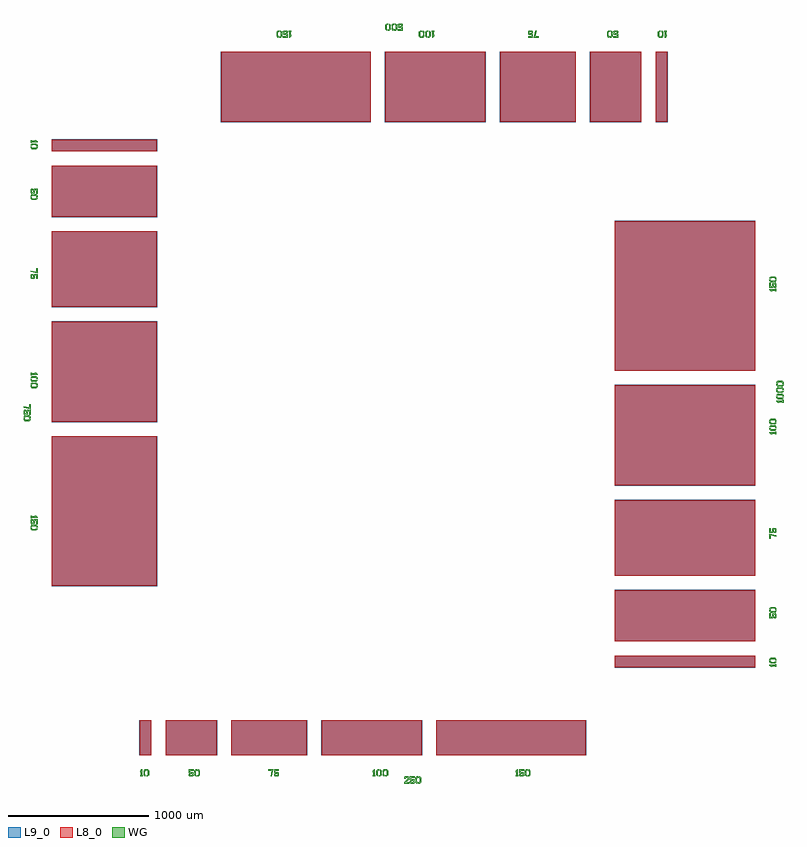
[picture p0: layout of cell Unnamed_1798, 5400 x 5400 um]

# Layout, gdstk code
from math import pi, radians
import gdstk
lib = gdstk.Library(unit=1e-6, precision=1e-09)
def R(c, l, rs):  # rectangles x0, y0, x1, y1
    for r in rs: c.add(gdstk.rectangle(r[:2], r[2:], *l))
def P(c, l, *ps):  # polygons
    for p in ps: c.add(gdstk.Polygon(p, *l))
WG = (1, 0)
L8_0 = (8, 0)
L9_0 = (9, 0)

unnamed_1796 = lib.new_cell('Unnamed_1796')

unnamed_1795 = lib.new_cell('Unnamed_1795')

rectangle_s1066_500_l9__ = lib.new_cell('rectangle_S1066_500_L9__64bd6b69')
R(rectangle_s1066_500_l9__, L9_0, [(0,0,1066,500)])

text_t150_s50_p0_0_jleft = lib.new_cell('text_T150_S50_P0_0_Jleft_L1_0')
P(text_t150_s50_p0_0_jleft, WG, [(88.5,0),(91,10),(95,10),(100,15),(100,35),(95,40),(97.5,50),(100,50),(110,40),(110,10),(100,0)],
  [(80,0),(70,10),(70,40),(80,50),(91.5,50),(89,40),(85,40),(80,35),(80,15),(85,10),(82.5,0)],
  [(35,0),(30,5),(30,15),(40,15),(40,10),(55,10),(55,20),(35,20),(30,25),(30,50),(65,50),(65,40),(40,40),(40,30),(60,30),(65,25),(65,5),(60,0)],
  [(5,0),(5,10),(10,10),(10,30),(5,30),(5,40),(15,50),(20,50),(20,10),(25,10),(25,0)])

rectangle_s150_498_l8_0_ = lib.new_cell('rectangle_S150_498_L8_0_3344f8a4')
R(rectangle_s150_498_l8_0_, L8_0, [(0,0,150,498)])

unnamed_1779 = lib.new_cell('Unnamed_1779')
unnamed_1779.add(gdstk.Reference(rectangle_s1066_500_l9__, (123,0)))
unnamed_1779.add(gdstk.Reference(text_t150_s50_p0_0_jleft, (683,-150)))
unnamed_1779.add(gdstk.Reference(rectangle_s150_498_l8_0_, (125,0)))
unnamed_1779.add(gdstk.Reference(rectangle_s150_498_l8_0_, (277,0)))
unnamed_1779.add(gdstk.Reference(rectangle_s150_498_l8_0_, (429,0)))
unnamed_1779.add(gdstk.Reference(rectangle_s150_498_l8_0_, (581,0)))
unnamed_1779.add(gdstk.Reference(rectangle_s150_498_l8_0_, (733,0)))
unnamed_1779.add(gdstk.Reference(rectangle_s150_498_l8_0_, (885,0)))
unnamed_1779.add(gdstk.Reference(rectangle_s150_498_l8_0_, (1037,0)))

rectangle_s716_500_l9_0_ = lib.new_cell('rectangle_S716_500_L9_0_1c4ea042')
R(rectangle_s716_500_l9_0_, L9_0, [(0,0,716,500)])

text_t100_s50_p0_0_jleft = lib.new_cell('text_T100_S50_P0_0_Jleft_L1_0')
P(text_t100_s50_p0_0_jleft, WG, [(48.5,0),(51,10),(55,10),(60,15),(60,35),(55,40),(57.5,50),(60,50),(70,40),(70,10),(60,0)],
  [(93.5,0),(96,10),(100,10),(105,15),(105,35),(100,40),(102.5,50),(105,50),(115,40),(115,10),(105,0)],
  [(40,0),(30,10),(30,40),(40,50),(51.5,50),(49,40),(45,40),(40,35),(40,15),(45,10),(42.5,0)],
  [(85,0),(75,10),(75,40),(85,50),(96.5,50),(94,40),(90,40),(85,35),(85,15),(90,10),(87.5,0)],
  [(5,0),(5,10),(10,10),(10,30),(5,30),(5,40),(15,50),(20,50),(20,10),(25,10),(25,0)])

rectangle_s100_498_l8_0_ = lib.new_cell('rectangle_S100_498_L8_0_8e44272a')
R(rectangle_s100_498_l8_0_, L8_0, [(0,0,100,498)])

unnamed_1778 = lib.new_cell('Unnamed_1778')
unnamed_1778.add(gdstk.Reference(rectangle_s716_500_l9_0_, (123,0)))
unnamed_1778.add(gdstk.Reference(text_t100_s50_p0_0_jleft, (483,-150)))
unnamed_1778.add(gdstk.Reference(rectangle_s100_498_l8_0_, (125,0)))
unnamed_1778.add(gdstk.Reference(rectangle_s100_498_l8_0_, (227,0)))
unnamed_1778.add(gdstk.Reference(rectangle_s100_498_l8_0_, (329,0)))
unnamed_1778.add(gdstk.Reference(rectangle_s100_498_l8_0_, (431,0)))
unnamed_1778.add(gdstk.Reference(rectangle_s100_498_l8_0_, (533,0)))
unnamed_1778.add(gdstk.Reference(rectangle_s100_498_l8_0_, (635,0)))
unnamed_1778.add(gdstk.Reference(rectangle_s100_498_l8_0_, (737,0)))

text_t10_s50_p0_0_jleft_ = lib.new_cell('text_T10_S50_P0_0_Jleft_L1_0')
P(text_t10_s50_p0_0_jleft_, WG, [(48.5,0),(51,10),(55,10),(60,15),(60,35),(55,40),(57.5,50),(60,50),(70,40),(70,10),(60,0)],
  [(40,0),(30,10),(30,40),(40,50),(51.5,50),(49,40),(45,40),(40,35),(40,15),(45,10),(42.5,0)],
  [(5,0),(5,10),(10,10),(10,30),(5,30),(5,40),(15,50),(20,50),(20,10),(25,10),(25,0)])

rectangle_s86_500_l9_0__ = lib.new_cell('rectangle_S86_500_L9_0__ba91e76d')
R(rectangle_s86_500_l9_0__, L9_0, [(0,0,86,500)])

rectangle_s10_498_l8_0__ = lib.new_cell('rectangle_S10_498_L8_0__ad3ec932')
R(rectangle_s10_498_l8_0__, L8_0, [(0,0,10,498)])

unnamed_1775 = lib.new_cell('Unnamed_1775')
unnamed_1775.add(gdstk.Reference(text_t10_s50_p0_0_jleft_, (123,-150)))
unnamed_1775.add(gdstk.Reference(rectangle_s86_500_l9_0__, (123,0)))
unnamed_1775.add(gdstk.Reference(rectangle_s10_498_l8_0__, (125,0)))
unnamed_1775.add(gdstk.Reference(rectangle_s10_498_l8_0__, (137,0)))
unnamed_1775.add(gdstk.Reference(rectangle_s10_498_l8_0__, (149,0)))
unnamed_1775.add(gdstk.Reference(rectangle_s10_498_l8_0__, (161,0)))
unnamed_1775.add(gdstk.Reference(rectangle_s10_498_l8_0__, (173,0)))
unnamed_1775.add(gdstk.Reference(rectangle_s10_498_l8_0__, (185,0)))
unnamed_1775.add(gdstk.Reference(rectangle_s10_498_l8_0__, (197,0)))

rectangle_s366_500_l9_0_ = lib.new_cell('rectangle_S366_500_L9_0_18f01075')
R(rectangle_s366_500_l9_0_, L9_0, [(0,0,366,500)])

text_t50_s50_p0_0_jleft_ = lib.new_cell('text_T50_S50_P0_0_Jleft_L1_0')
P(text_t50_s50_p0_0_jleft_, WG, [(63.5,0),(66,10),(70,10),(75,15),(75,35),(70,40),(72.5,50),(75,50),(85,40),(85,10),(75,0)],
  [(55,0),(45,10),(45,40),(55,50),(66.5,50),(64,40),(60,40),(55,35),(55,15),(60,10),(57.5,0)],
  [(10,0),(5,5),(5,15),(15,15),(15,10),(30,10),(30,20),(10,20),(5,25),(5,50),(40,50),(40,40),(15,40),(15,30),(35,30),(40,25),(40,5),(35,0)])

rectangle_s50_498_l8_0__ = lib.new_cell('rectangle_S50_498_L8_0__cadecadc')
R(rectangle_s50_498_l8_0__, L8_0, [(0,0,50,498)])

unnamed_1776 = lib.new_cell('Unnamed_1776')
unnamed_1776.add(gdstk.Reference(rectangle_s366_500_l9_0_, (123,0)))
unnamed_1776.add(gdstk.Reference(text_t50_s50_p0_0_jleft_, (283,-150)))
unnamed_1776.add(gdstk.Reference(rectangle_s50_498_l8_0__, (125,0)))
unnamed_1776.add(gdstk.Reference(rectangle_s50_498_l8_0__, (177,0)))
unnamed_1776.add(gdstk.Reference(rectangle_s50_498_l8_0__, (229,0)))
unnamed_1776.add(gdstk.Reference(rectangle_s50_498_l8_0__, (281,0)))
unnamed_1776.add(gdstk.Reference(rectangle_s50_498_l8_0__, (333,0)))
unnamed_1776.add(gdstk.Reference(rectangle_s50_498_l8_0__, (385,0)))
unnamed_1776.add(gdstk.Reference(rectangle_s50_498_l8_0__, (437,0)))

text_t500_s50_p0_0_jleft = lib.new_cell('text_T500_S50_P0_0_Jleft_L1_0')
P(text_t500_s50_p0_0_jleft, WG, [(63.5,0),(66,10),(70,10),(75,15),(75,35),(70,40),(72.5,50),(75,50),(85,40),(85,10),(75,0)],
  [(108.5,0),(111,10),(115,10),(120,15),(120,35),(115,40),(117.5,50),(120,50),(130,40),(130,10),(120,0)],
  [(55,0),(45,10),(45,40),(55,50),(66.5,50),(64,40),(60,40),(55,35),(55,15),(60,10),(57.5,0)],
  [(100,0),(90,10),(90,40),(100,50),(111.5,50),(109,40),(105,40),(100,35),(100,15),(105,10),(102.5,0)],
  [(10,0),(5,5),(5,15),(15,15),(15,10),(30,10),(30,20),(10,20),(5,25),(5,50),(40,50),(40,40),(15,40),(15,30),(35,30),(40,25),(40,5),(35,0)])

text_t75_s50_p0_0_jleft_ = lib.new_cell('text_T75_S50_P0_0_Jleft_L1_0')
P(text_t75_s50_p0_0_jleft_, WG, [(50,0),(45,5),(45,15),(55,15),(55,10),(70,10),(70,20),(50,20),(45,25),(45,50),(80,50),(80,40),(55,40),(55,30),(75,30),(80,25),(80,5),(75,0)],
  [(20,0),(28,40),(5,40),(5,50),(40,50),(30,0)])

rectangle_s541_500_l9_0_ = lib.new_cell('rectangle_S541_500_L9_0_19871c2f')
R(rectangle_s541_500_l9_0_, L9_0, [(0,0,541,500)])

rectangle_s75_498_l8_0__ = lib.new_cell('rectangle_S75_498_L8_0__5f6cecd9')
R(rectangle_s75_498_l8_0__, L8_0, [(0,0,75,498)])

unnamed_1777 = lib.new_cell('Unnamed_1777')
unnamed_1777.add(gdstk.Reference(text_t75_s50_p0_0_jleft_, (383,-150)))
unnamed_1777.add(gdstk.Reference(rectangle_s541_500_l9_0_, (123,0)))
unnamed_1777.add(gdstk.Reference(rectangle_s75_498_l8_0__, (125,0)))
unnamed_1777.add(gdstk.Reference(rectangle_s75_498_l8_0__, (202,0)))
unnamed_1777.add(gdstk.Reference(rectangle_s75_498_l8_0__, (279,0)))
unnamed_1777.add(gdstk.Reference(rectangle_s75_498_l8_0__, (356,0)))
unnamed_1777.add(gdstk.Reference(rectangle_s75_498_l8_0__, (433,0)))
unnamed_1777.add(gdstk.Reference(rectangle_s75_498_l8_0__, (510,0)))
unnamed_1777.add(gdstk.Reference(rectangle_s75_498_l8_0__, (587,0)))

unnamed_1791 = lib.new_cell('Unnamed_1791')
unnamed_1791.add(gdstk.Reference(unnamed_1779, (2609,0)))
unnamed_1791.add(gdstk.Reference(unnamed_1778, (1793,0)))
unnamed_1791.add(gdstk.Reference(unnamed_1775, (500,0)))
unnamed_1791.add(gdstk.Reference(unnamed_1776, (686,0)))
unnamed_1791.add(gdstk.Reference(text_t500_s50_p0_0_jleft, (2500,-200)))
unnamed_1791.add(gdstk.Reference(unnamed_1777, (1152,0)))

rectangle_s1066_1000_l9_ = lib.new_cell('rectangle_S1066_1000_L9_1451213a')
R(rectangle_s1066_1000_l9_, L9_0, [(0,0,1066,1000)])

rectangle_s150_998_l8_0_ = lib.new_cell('rectangle_S150_998_L8_0_cd40ac17')
R(rectangle_s150_998_l8_0_, L8_0, [(0,0,150,998)])

unnamed_1789 = lib.new_cell('Unnamed_1789')
unnamed_1789.add(gdstk.Reference(rectangle_s1066_1000_l9_, (123,0)))
unnamed_1789.add(gdstk.Reference(text_t150_s50_p0_0_jleft, (683,-150)))
unnamed_1789.add(gdstk.Reference(rectangle_s150_998_l8_0_, (125,0)))
unnamed_1789.add(gdstk.Reference(rectangle_s150_998_l8_0_, (277,0)))
unnamed_1789.add(gdstk.Reference(rectangle_s150_998_l8_0_, (429,0)))
unnamed_1789.add(gdstk.Reference(rectangle_s150_998_l8_0_, (581,0)))
unnamed_1789.add(gdstk.Reference(rectangle_s150_998_l8_0_, (733,0)))
unnamed_1789.add(gdstk.Reference(rectangle_s150_998_l8_0_, (885,0)))
unnamed_1789.add(gdstk.Reference(rectangle_s150_998_l8_0_, (1037,0)))

rectangle_s541_1000_l9__ = lib.new_cell('rectangle_S541_1000_L9__09d4f548')
R(rectangle_s541_1000_l9__, L9_0, [(0,0,541,1000)])

rectangle_s75_998_l8_0__ = lib.new_cell('rectangle_S75_998_L8_0__cc8ebacf')
R(rectangle_s75_998_l8_0__, L8_0, [(0,0,75,998)])

unnamed_1787 = lib.new_cell('Unnamed_1787')
unnamed_1787.add(gdstk.Reference(rectangle_s541_1000_l9__, (123,0)))
unnamed_1787.add(gdstk.Reference(text_t75_s50_p0_0_jleft_, (383,-150)))
unnamed_1787.add(gdstk.Reference(rectangle_s75_998_l8_0__, (125,0)))
unnamed_1787.add(gdstk.Reference(rectangle_s75_998_l8_0__, (202,0)))
unnamed_1787.add(gdstk.Reference(rectangle_s75_998_l8_0__, (279,0)))
unnamed_1787.add(gdstk.Reference(rectangle_s75_998_l8_0__, (356,0)))
unnamed_1787.add(gdstk.Reference(rectangle_s75_998_l8_0__, (433,0)))
unnamed_1787.add(gdstk.Reference(rectangle_s75_998_l8_0__, (510,0)))
unnamed_1787.add(gdstk.Reference(rectangle_s75_998_l8_0__, (587,0)))

text_t1000_s50_p0_0_jlef = lib.new_cell('text_T1000_S50_P0_0_Jleft_L1_0')
P(text_t1000_s50_p0_0_jlef, WG, [(48.5,0),(51,10),(55,10),(60,15),(60,35),(55,40),(57.5,50),(60,50),(70,40),(70,10),(60,0)],
  [(93.5,0),(96,10),(100,10),(105,15),(105,35),(100,40),(102.5,50),(105,50),(115,40),(115,10),(105,0)],
  [(138.5,0),(141,10),(145,10),(150,15),(150,35),(145,40),(147.5,50),(150,50),(160,40),(160,10),(150,0)],
  [(40,0),(30,10),(30,40),(40,50),(51.5,50),(49,40),(45,40),(40,35),(40,15),(45,10),(42.5,0)],
  [(85,0),(75,10),(75,40),(85,50),(96.5,50),(94,40),(90,40),(85,35),(85,15),(90,10),(87.5,0)],
  [(130,0),(120,10),(120,40),(130,50),(141.5,50),(139,40),(135,40),(130,35),(130,15),(135,10),(132.5,0)],
  [(5,0),(5,10),(10,10),(10,30),(5,30),(5,40),(15,50),(20,50),(20,10),(25,10),(25,0)])

rectangle_s366_1000_l9__ = lib.new_cell('rectangle_S366_1000_L9__a3b0b57e')
R(rectangle_s366_1000_l9__, L9_0, [(0,0,366,1000)])

rectangle_s50_998_l8_0__ = lib.new_cell('rectangle_S50_998_L8_0__a3cc393b')
R(rectangle_s50_998_l8_0__, L8_0, [(0,0,50,998)])

unnamed_1786 = lib.new_cell('Unnamed_1786')
unnamed_1786.add(gdstk.Reference(rectangle_s366_1000_l9__, (123,0)))
unnamed_1786.add(gdstk.Reference(text_t50_s50_p0_0_jleft_, (283,-150)))
unnamed_1786.add(gdstk.Reference(rectangle_s50_998_l8_0__, (125,0)))
unnamed_1786.add(gdstk.Reference(rectangle_s50_998_l8_0__, (177,0)))
unnamed_1786.add(gdstk.Reference(rectangle_s50_998_l8_0__, (229,0)))
unnamed_1786.add(gdstk.Reference(rectangle_s50_998_l8_0__, (281,0)))
unnamed_1786.add(gdstk.Reference(rectangle_s50_998_l8_0__, (333,0)))
unnamed_1786.add(gdstk.Reference(rectangle_s50_998_l8_0__, (385,0)))
unnamed_1786.add(gdstk.Reference(rectangle_s50_998_l8_0__, (437,0)))

rectangle_s716_1000_l9__ = lib.new_cell('rectangle_S716_1000_L9__e62f985a')
R(rectangle_s716_1000_l9__, L9_0, [(0,0,716,1000)])

rectangle_s100_998_l8_0_ = lib.new_cell('rectangle_S100_998_L8_0_c306aa22')
R(rectangle_s100_998_l8_0_, L8_0, [(0,0,100,998)])

unnamed_1788 = lib.new_cell('Unnamed_1788')
unnamed_1788.add(gdstk.Reference(rectangle_s716_1000_l9__, (123,0)))
unnamed_1788.add(gdstk.Reference(text_t100_s50_p0_0_jleft, (483,-150)))
unnamed_1788.add(gdstk.Reference(rectangle_s100_998_l8_0_, (125,0)))
unnamed_1788.add(gdstk.Reference(rectangle_s100_998_l8_0_, (227,0)))
unnamed_1788.add(gdstk.Reference(rectangle_s100_998_l8_0_, (329,0)))
unnamed_1788.add(gdstk.Reference(rectangle_s100_998_l8_0_, (431,0)))
unnamed_1788.add(gdstk.Reference(rectangle_s100_998_l8_0_, (533,0)))
unnamed_1788.add(gdstk.Reference(rectangle_s100_998_l8_0_, (635,0)))
unnamed_1788.add(gdstk.Reference(rectangle_s100_998_l8_0_, (737,0)))

rectangle_s86_1000_l9_0_ = lib.new_cell('rectangle_S86_1000_L9_0_cbcfff94')
R(rectangle_s86_1000_l9_0_, L9_0, [(0,0,86,1000)])

rectangle_s10_998_l8_0__ = lib.new_cell('rectangle_S10_998_L8_0__618c10ad')
R(rectangle_s10_998_l8_0__, L8_0, [(0,0,10,998)])

unnamed_1785 = lib.new_cell('Unnamed_1785')
unnamed_1785.add(gdstk.Reference(rectangle_s86_1000_l9_0_, (123,0)))
unnamed_1785.add(gdstk.Reference(text_t10_s50_p0_0_jleft_, (123,-150)))
unnamed_1785.add(gdstk.Reference(rectangle_s10_998_l8_0__, (125,0)))
unnamed_1785.add(gdstk.Reference(rectangle_s10_998_l8_0__, (137,0)))
unnamed_1785.add(gdstk.Reference(rectangle_s10_998_l8_0__, (149,0)))
unnamed_1785.add(gdstk.Reference(rectangle_s10_998_l8_0__, (161,0)))
unnamed_1785.add(gdstk.Reference(rectangle_s10_998_l8_0__, (173,0)))
unnamed_1785.add(gdstk.Reference(rectangle_s10_998_l8_0__, (185,0)))
unnamed_1785.add(gdstk.Reference(rectangle_s10_998_l8_0__, (197,0)))

unnamed_1793 = lib.new_cell('Unnamed_1793')
unnamed_1793.add(gdstk.Reference(unnamed_1789, (2609,0)))
unnamed_1793.add(gdstk.Reference(unnamed_1787, (1152,0)))
unnamed_1793.add(gdstk.Reference(text_t1000_s50_p0_0_jlef, (2500,-200)))
unnamed_1793.add(gdstk.Reference(unnamed_1786, (686,0)))
unnamed_1793.add(gdstk.Reference(unnamed_1788, (1793,0)))
unnamed_1793.add(gdstk.Reference(unnamed_1785, (500,0)))

unnamed_1797 = lib.new_cell('Unnamed_1797')

text_t750_s50_p0_0_jleft = lib.new_cell('text_T750_S50_P0_0_Jleft_L1_0')
P(text_t750_s50_p0_0_jleft, WG, [(95,0),(85,10),(85,40),(95,50),(106.5,50),(104,40),(100,40),(95,35),(95,15),(100,10),(97.5,0)],
  [(50,0),(45,5),(45,15),(55,15),(55,10),(70,10),(70,20),(50,20),(45,25),(45,50),(80,50),(80,40),(55,40),(55,30),(75,30),(80,25),(80,5),(75,0)],
  [(103.5,0),(106,10),(110,10),(115,15),(115,35),(110,40),(112.5,50),(115,50),(125,40),(125,10),(115,0)],
  [(20,0),(28,40),(5,40),(5,50),(40,50),(30,0)])

rectangle_s366_750_l9_0_ = lib.new_cell('rectangle_S366_750_L9_0_d8e98ecc')
R(rectangle_s366_750_l9_0_, L9_0, [(0,0,366,750)])

rectangle_s50_748_l8_0__ = lib.new_cell('rectangle_S50_748_L8_0__e69bb82a')
R(rectangle_s50_748_l8_0__, L8_0, [(0,0,50,748)])

unnamed_1781 = lib.new_cell('Unnamed_1781')
unnamed_1781.add(gdstk.Reference(rectangle_s366_750_l9_0_, (123,0)))
unnamed_1781.add(gdstk.Reference(text_t50_s50_p0_0_jleft_, (283,-150)))
unnamed_1781.add(gdstk.Reference(rectangle_s50_748_l8_0__, (125,0)))
unnamed_1781.add(gdstk.Reference(rectangle_s50_748_l8_0__, (177,0)))
unnamed_1781.add(gdstk.Reference(rectangle_s50_748_l8_0__, (229,0)))
unnamed_1781.add(gdstk.Reference(rectangle_s50_748_l8_0__, (281,0)))
unnamed_1781.add(gdstk.Reference(rectangle_s50_748_l8_0__, (333,0)))
unnamed_1781.add(gdstk.Reference(rectangle_s50_748_l8_0__, (385,0)))
unnamed_1781.add(gdstk.Reference(rectangle_s50_748_l8_0__, (437,0)))

rectangle_s1066_750_l9__ = lib.new_cell('rectangle_S1066_750_L9__0ebd3440')
R(rectangle_s1066_750_l9__, L9_0, [(0,0,1066,750)])

rectangle_s150_748_l8_0_ = lib.new_cell('rectangle_S150_748_L8_0_392cc59f')
R(rectangle_s150_748_l8_0_, L8_0, [(0,0,150,748)])

unnamed_1784 = lib.new_cell('Unnamed_1784')
unnamed_1784.add(gdstk.Reference(rectangle_s1066_750_l9__, (123,0)))
unnamed_1784.add(gdstk.Reference(text_t150_s50_p0_0_jleft, (683,-150)))
unnamed_1784.add(gdstk.Reference(rectangle_s150_748_l8_0_, (125,0)))
unnamed_1784.add(gdstk.Reference(rectangle_s150_748_l8_0_, (277,0)))
unnamed_1784.add(gdstk.Reference(rectangle_s150_748_l8_0_, (429,0)))
unnamed_1784.add(gdstk.Reference(rectangle_s150_748_l8_0_, (581,0)))
unnamed_1784.add(gdstk.Reference(rectangle_s150_748_l8_0_, (733,0)))
unnamed_1784.add(gdstk.Reference(rectangle_s150_748_l8_0_, (885,0)))
unnamed_1784.add(gdstk.Reference(rectangle_s150_748_l8_0_, (1037,0)))

rectangle_s716_750_l9_0_ = lib.new_cell('rectangle_S716_750_L9_0_7be79993')
R(rectangle_s716_750_l9_0_, L9_0, [(0,0,716,750)])

rectangle_s100_748_l8_0_ = lib.new_cell('rectangle_S100_748_L8_0_e52924da')
R(rectangle_s100_748_l8_0_, L8_0, [(0,0,100,748)])

unnamed_1783 = lib.new_cell('Unnamed_1783')
unnamed_1783.add(gdstk.Reference(rectangle_s716_750_l9_0_, (123,0)))
unnamed_1783.add(gdstk.Reference(text_t100_s50_p0_0_jleft, (483,-150)))
unnamed_1783.add(gdstk.Reference(rectangle_s100_748_l8_0_, (125,0)))
unnamed_1783.add(gdstk.Reference(rectangle_s100_748_l8_0_, (227,0)))
unnamed_1783.add(gdstk.Reference(rectangle_s100_748_l8_0_, (329,0)))
unnamed_1783.add(gdstk.Reference(rectangle_s100_748_l8_0_, (431,0)))
unnamed_1783.add(gdstk.Reference(rectangle_s100_748_l8_0_, (533,0)))
unnamed_1783.add(gdstk.Reference(rectangle_s100_748_l8_0_, (635,0)))
unnamed_1783.add(gdstk.Reference(rectangle_s100_748_l8_0_, (737,0)))

rectangle_s541_750_l9_0_ = lib.new_cell('rectangle_S541_750_L9_0_cf4eb324')
R(rectangle_s541_750_l9_0_, L9_0, [(0,0,541,750)])

rectangle_s75_748_l8_0__ = lib.new_cell('rectangle_S75_748_L8_0__21cc7b18')
R(rectangle_s75_748_l8_0__, L8_0, [(0,0,75,748)])

unnamed_1782 = lib.new_cell('Unnamed_1782')
unnamed_1782.add(gdstk.Reference(rectangle_s541_750_l9_0_, (123,0)))
unnamed_1782.add(gdstk.Reference(text_t75_s50_p0_0_jleft_, (383,-150)))
unnamed_1782.add(gdstk.Reference(rectangle_s75_748_l8_0__, (125,0)))
unnamed_1782.add(gdstk.Reference(rectangle_s75_748_l8_0__, (202,0)))
unnamed_1782.add(gdstk.Reference(rectangle_s75_748_l8_0__, (279,0)))
unnamed_1782.add(gdstk.Reference(rectangle_s75_748_l8_0__, (356,0)))
unnamed_1782.add(gdstk.Reference(rectangle_s75_748_l8_0__, (433,0)))
unnamed_1782.add(gdstk.Reference(rectangle_s75_748_l8_0__, (510,0)))
unnamed_1782.add(gdstk.Reference(rectangle_s75_748_l8_0__, (587,0)))

rectangle_s86_750_l9_0__ = lib.new_cell('rectangle_S86_750_L9_0__a15b9554')
R(rectangle_s86_750_l9_0__, L9_0, [(0,0,86,750)])

rectangle_s10_748_l8_0__ = lib.new_cell('rectangle_S10_748_L8_0__afdd4900')
R(rectangle_s10_748_l8_0__, L8_0, [(0,0,10,748)])

unnamed_1780 = lib.new_cell('Unnamed_1780')
unnamed_1780.add(gdstk.Reference(rectangle_s86_750_l9_0__, (123,0)))
unnamed_1780.add(gdstk.Reference(text_t10_s50_p0_0_jleft_, (123,-150)))
unnamed_1780.add(gdstk.Reference(rectangle_s10_748_l8_0__, (125,0)))
unnamed_1780.add(gdstk.Reference(rectangle_s10_748_l8_0__, (137,0)))
unnamed_1780.add(gdstk.Reference(rectangle_s10_748_l8_0__, (149,0)))
unnamed_1780.add(gdstk.Reference(rectangle_s10_748_l8_0__, (161,0)))
unnamed_1780.add(gdstk.Reference(rectangle_s10_748_l8_0__, (173,0)))
unnamed_1780.add(gdstk.Reference(rectangle_s10_748_l8_0__, (185,0)))
unnamed_1780.add(gdstk.Reference(rectangle_s10_748_l8_0__, (197,0)))

unnamed_1792 = lib.new_cell('Unnamed_1792')
unnamed_1792.add(gdstk.Reference(text_t750_s50_p0_0_jleft, (2500,-200)))
unnamed_1792.add(gdstk.Reference(unnamed_1781, (686,0)))
unnamed_1792.add(gdstk.Reference(unnamed_1784, (2609,0)))
unnamed_1792.add(gdstk.Reference(unnamed_1783, (1793,0)))
unnamed_1792.add(gdstk.Reference(unnamed_1782, (1152,0)))
unnamed_1792.add(gdstk.Reference(unnamed_1780, (500,0)))

unnamed_1794 = lib.new_cell('Unnamed_1794')

rectangle_s716_250_l9_0_ = lib.new_cell('rectangle_S716_250_L9_0_72199edc')
R(rectangle_s716_250_l9_0_, L9_0, [(0,0,716,250)])

rectangle_s100_248_l8_0_ = lib.new_cell('rectangle_S100_248_L8_0_ec6efe2a')
R(rectangle_s100_248_l8_0_, L8_0, [(0,0,100,248)])

unnamed_1773 = lib.new_cell('Unnamed_1773')
unnamed_1773.add(gdstk.Reference(text_t100_s50_p0_0_jleft, (483,-150)))
unnamed_1773.add(gdstk.Reference(rectangle_s716_250_l9_0_, (123,0)))
unnamed_1773.add(gdstk.Reference(rectangle_s100_248_l8_0_, (125,0)))
unnamed_1773.add(gdstk.Reference(rectangle_s100_248_l8_0_, (227,0)))
unnamed_1773.add(gdstk.Reference(rectangle_s100_248_l8_0_, (329,0)))
unnamed_1773.add(gdstk.Reference(rectangle_s100_248_l8_0_, (431,0)))
unnamed_1773.add(gdstk.Reference(rectangle_s100_248_l8_0_, (533,0)))
unnamed_1773.add(gdstk.Reference(rectangle_s100_248_l8_0_, (635,0)))
unnamed_1773.add(gdstk.Reference(rectangle_s100_248_l8_0_, (737,0)))

rectangle_s541_250_l9_0_ = lib.new_cell('rectangle_S541_250_L9_0_4a44eec3')
R(rectangle_s541_250_l9_0_, L9_0, [(0,0,541,250)])

rectangle_s75_248_l8_0__ = lib.new_cell('rectangle_S75_248_L8_0__2b17ab04')
R(rectangle_s75_248_l8_0__, L8_0, [(0,0,75,248)])

unnamed_1772 = lib.new_cell('Unnamed_1772')
unnamed_1772.add(gdstk.Reference(rectangle_s541_250_l9_0_, (123,0)))
unnamed_1772.add(gdstk.Reference(text_t75_s50_p0_0_jleft_, (383,-150)))
unnamed_1772.add(gdstk.Reference(rectangle_s75_248_l8_0__, (125,0)))
unnamed_1772.add(gdstk.Reference(rectangle_s75_248_l8_0__, (202,0)))
unnamed_1772.add(gdstk.Reference(rectangle_s75_248_l8_0__, (279,0)))
unnamed_1772.add(gdstk.Reference(rectangle_s75_248_l8_0__, (356,0)))
unnamed_1772.add(gdstk.Reference(rectangle_s75_248_l8_0__, (433,0)))
unnamed_1772.add(gdstk.Reference(rectangle_s75_248_l8_0__, (510,0)))
unnamed_1772.add(gdstk.Reference(rectangle_s75_248_l8_0__, (587,0)))

rectangle_s1066_250_l9__ = lib.new_cell('rectangle_S1066_250_L9__9e77c063')
R(rectangle_s1066_250_l9__, L9_0, [(0,0,1066,250)])

rectangle_s150_248_l8_0_ = lib.new_cell('rectangle_S150_248_L8_0_45914063')
R(rectangle_s150_248_l8_0_, L8_0, [(0,0,150,248)])

unnamed_1774 = lib.new_cell('Unnamed_1774')
unnamed_1774.add(gdstk.Reference(rectangle_s1066_250_l9__, (123,0)))
unnamed_1774.add(gdstk.Reference(text_t150_s50_p0_0_jleft, (683,-150)))
unnamed_1774.add(gdstk.Reference(rectangle_s150_248_l8_0_, (125,0)))
unnamed_1774.add(gdstk.Reference(rectangle_s150_248_l8_0_, (277,0)))
unnamed_1774.add(gdstk.Reference(rectangle_s150_248_l8_0_, (429,0)))
unnamed_1774.add(gdstk.Reference(rectangle_s150_248_l8_0_, (581,0)))
unnamed_1774.add(gdstk.Reference(rectangle_s150_248_l8_0_, (733,0)))
unnamed_1774.add(gdstk.Reference(rectangle_s150_248_l8_0_, (885,0)))
unnamed_1774.add(gdstk.Reference(rectangle_s150_248_l8_0_, (1037,0)))

rectangle_s366_250_l9_0_ = lib.new_cell('rectangle_S366_250_L9_0_b6a79f79')
R(rectangle_s366_250_l9_0_, L9_0, [(0,0,366,250)])

rectangle_s50_248_l8_0__ = lib.new_cell('rectangle_S50_248_L8_0__6a217ae2')
R(rectangle_s50_248_l8_0__, L8_0, [(0,0,50,248)])

unnamed_1771 = lib.new_cell('Unnamed_1771')
unnamed_1771.add(gdstk.Reference(rectangle_s366_250_l9_0_, (123,0)))
unnamed_1771.add(gdstk.Reference(text_t50_s50_p0_0_jleft_, (283,-150)))
unnamed_1771.add(gdstk.Reference(rectangle_s50_248_l8_0__, (125,0)))
unnamed_1771.add(gdstk.Reference(rectangle_s50_248_l8_0__, (177,0)))
unnamed_1771.add(gdstk.Reference(rectangle_s50_248_l8_0__, (229,0)))
unnamed_1771.add(gdstk.Reference(rectangle_s50_248_l8_0__, (281,0)))
unnamed_1771.add(gdstk.Reference(rectangle_s50_248_l8_0__, (333,0)))
unnamed_1771.add(gdstk.Reference(rectangle_s50_248_l8_0__, (385,0)))
unnamed_1771.add(gdstk.Reference(rectangle_s50_248_l8_0__, (437,0)))

text_t250_s50_p0_0_jleft = lib.new_cell('text_T250_S50_P0_0_Jleft_L1_0')
P(text_t250_s50_p0_0_jleft, WG, [(95,0),(85,10),(85,40),(95,50),(106.5,50),(104,40),(100,40),(95,35),(95,15),(100,10),(97.5,0)],
  [(50,0),(45,5),(45,15),(55,15),(55,10),(70,10),(70,20),(50,20),(45,25),(45,50),(80,50),(80,40),(55,40),(55,30),(75,30),(80,25),(80,5),(75,0)],
  [(103.5,0),(106,10),(110,10),(115,15),(115,35),(110,40),(112.5,50),(115,50),(125,40),(125,10),(115,0)],
  [(5,0),(5,10),(30,35),(30,40),(15,40),(15,35),(5,35),(5,45),(10,50),(35,50),(40,45),(40,30),(20,10),(40,10),(40,0)])

rectangle_s86_250_l9_0__ = lib.new_cell('rectangle_S86_250_L9_0__d37e6a98')
R(rectangle_s86_250_l9_0__, L9_0, [(0,0,86,250)])

rectangle_s10_248_l8_0__ = lib.new_cell('rectangle_S10_248_L8_0__7390707e')
R(rectangle_s10_248_l8_0__, L8_0, [(0,0,10,248)])

unnamed_1770 = lib.new_cell('Unnamed_1770')
unnamed_1770.add(gdstk.Reference(text_t10_s50_p0_0_jleft_, (123,-150)))
unnamed_1770.add(gdstk.Reference(rectangle_s86_250_l9_0__, (123,0)))
unnamed_1770.add(gdstk.Reference(rectangle_s10_248_l8_0__, (125,0)))
unnamed_1770.add(gdstk.Reference(rectangle_s10_248_l8_0__, (137,0)))
unnamed_1770.add(gdstk.Reference(rectangle_s10_248_l8_0__, (149,0)))
unnamed_1770.add(gdstk.Reference(rectangle_s10_248_l8_0__, (161,0)))
unnamed_1770.add(gdstk.Reference(rectangle_s10_248_l8_0__, (173,0)))
unnamed_1770.add(gdstk.Reference(rectangle_s10_248_l8_0__, (185,0)))
unnamed_1770.add(gdstk.Reference(rectangle_s10_248_l8_0__, (197,0)))

unnamed_1790 = lib.new_cell('Unnamed_1790')
unnamed_1790.add(gdstk.Reference(unnamed_1773, (1793,0)))
unnamed_1790.add(gdstk.Reference(unnamed_1772, (1152,0)))
unnamed_1790.add(gdstk.Reference(unnamed_1774, (2609,0)))
unnamed_1790.add(gdstk.Reference(unnamed_1771, (686,0)))
unnamed_1790.add(gdstk.Reference(text_t250_s50_p0_0_jleft, (2500,-200)))
unnamed_1790.add(gdstk.Reference(unnamed_1770, (500,0)))

unnamed_1798 = lib.new_cell('Unnamed_1798')
unnamed_1798.add(gdstk.Reference(unnamed_1796, (5000,0), rotation=pi/2))
unnamed_1798.add(gdstk.Reference(unnamed_1795, (5000,0), rotation=pi/2))
unnamed_1798.add(gdstk.Reference(unnamed_1791, (5000,5000), rotation=pi))
unnamed_1798.add(gdstk.Reference(unnamed_1793, (5000,0), rotation=pi/2))
unnamed_1798.add(gdstk.Reference(unnamed_1797, (5000,0), rotation=pi/2))
unnamed_1798.add(gdstk.Reference(unnamed_1792, (0,5000), rotation=3*pi/2))
unnamed_1798.add(gdstk.Reference(unnamed_1794, (5000,0), rotation=pi/2))
unnamed_1798.add(gdstk.Reference(unnamed_1790, (0,0)))

lib.write_gds('Unnamed_1798.gds')
